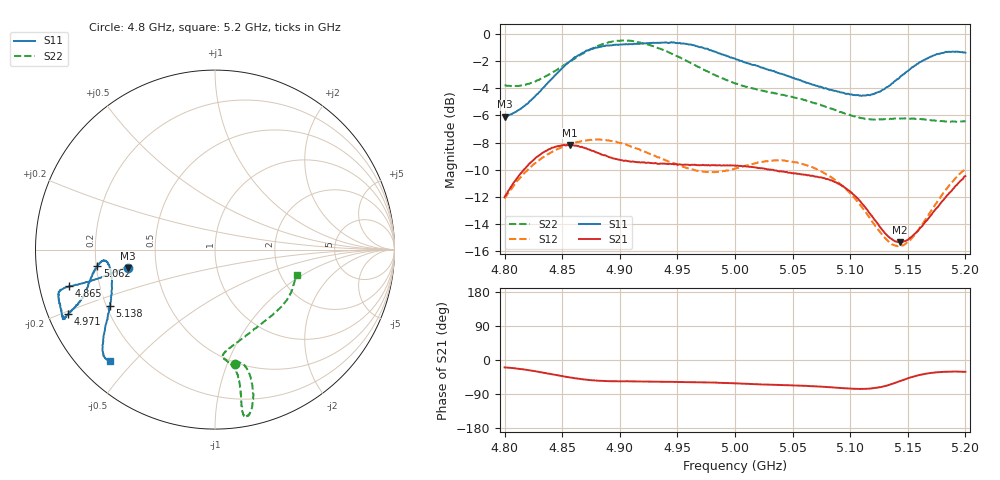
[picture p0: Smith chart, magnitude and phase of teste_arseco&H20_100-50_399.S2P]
! Network Analyzer HP8722D
! Hewlett-Packard
! Data name: Linha & Wilkinson
! Saver's name: Rodrigo Anjos
! Comments: Teste da utilização de aquisição
! continua pelo VNA HP8722D
! Time and date: 6/5/2025 15:53
!  Frequency  S11  S21  S12  S22
# HZ  S  MA R 50
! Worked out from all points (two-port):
!   401 points, 4.8 GHz to 5.2 GHz, reference 50 ohm
!   highest |S21| = -8.17 dB at 4.857 GHz (marker M1); lowest = -15.3 dB at 5.143 GHz (marker M2)
!   |S21| within 3 dB of the highest: 4.806 GHz to 5.093 GHz (286.8 MHz wide, 5.79 % of centre); 5.191802 GHz to end of sweep
!   lowest |S11| = -6.1 dB at 4.8 GHz (marker M3), VSWR 2.97, Z = 17 - j4.62 ohm
!   |S11| at or under -10 dB: nowhere
!   |S22| runs from -6.5 to -0.5 dB; largest |S21 - S12| = 0.62
!   S11 on the Smith chart (normalised r, x): 4.8 GHz: 0.34, -0.09; 4.865 GHz: 0.09, -0.12; 4.971 GHz: 0.06, -0.21; 5.062 GHz: 0.21, -0.07; 5.138 GHz: 0.21, -0.24; 5.2 GHz: 0.09, -0.43
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4.8e9  0.4961 -168.1  0.2511 -19.5  0.2479 -140.7  0.6473 -80.3
4.828e9  0.5995 -167.0  0.3528 -30.5  0.3375 -144.6  0.674 -75.5
4.857e9  0.7948 -165.7  0.3905 -46.1  0.3927 -150.1  0.7923 -74.8
4.865e9  0.8366 -165.9  0.3848 -49.8  0.4012 -151.5  0.8319 -75.1
4.867e9  0.8484 -165.7  0.3845 -50.7  0.4034 -151.8  0.8427 -75.3
4.88e9  0.8896 -165.4  0.3664 -54.4  0.4093 -154.0  0.8987 -76.7
4.901e9  0.915 -162.1  0.3433 -56.1  0.3964 -156.6  0.9451 -79.2
4.934e9  0.9275 -156.3  0.3327 -57.4  0.3517 -155.5  0.884 -80.4
4.971e9  0.8927 -156.3  0.3288 -59.1  0.312 -146.4  0.746 -79.5
5e9  0.8107 -158.9  0.3276 -61.7  0.3198 -137.1  0.6574 -81.2
5.036e9  0.7223 -165.6  0.3142 -65.9  0.3429 -134.2  0.6039 -85.6
5.062e9  0.6608 -172.2  0.3029 -68.5  0.329 -136.1  0.5676 -83.7
5.067e9  0.6506 -172.9  0.301 -68.9  0.3236 -136.5  0.5593 -82.6
5.085e9  0.6196 -174.4  0.2874 -72.4  0.2943 -138.2  0.5291 -75.8
5.103e9  0.5956 -171.3  0.2561 -76.0  0.2507 -138.5  0.4976 -65.2
5.117e9  0.5944 -164.7  0.2188 -75.5  0.2102 -135.0  0.485 -55.2
5.134e9  0.6438 -154.3  0.1783 -65.4  0.1711 -120.9  0.4855 -43.3
5.138e9  0.6665 -151.8  0.1737 -61.4  0.1671 -115.8  0.4875 -40.9
5.143e9  0.6916 -149.2  0.171 -56.0  0.1661 -109.1  0.4885 -38.0
5.154e9  0.7548 -144.3  0.1804 -44.5  0.1785 -95.1  0.4879 -32.3
5.174e9  0.8381 -138.4  0.2261 -32.7  0.236 -80.2  0.4792 -23.9
5.2e9  0.8521 -133.5  0.2997 -31.2  0.3188 -76.7  0.4765 -17.4
